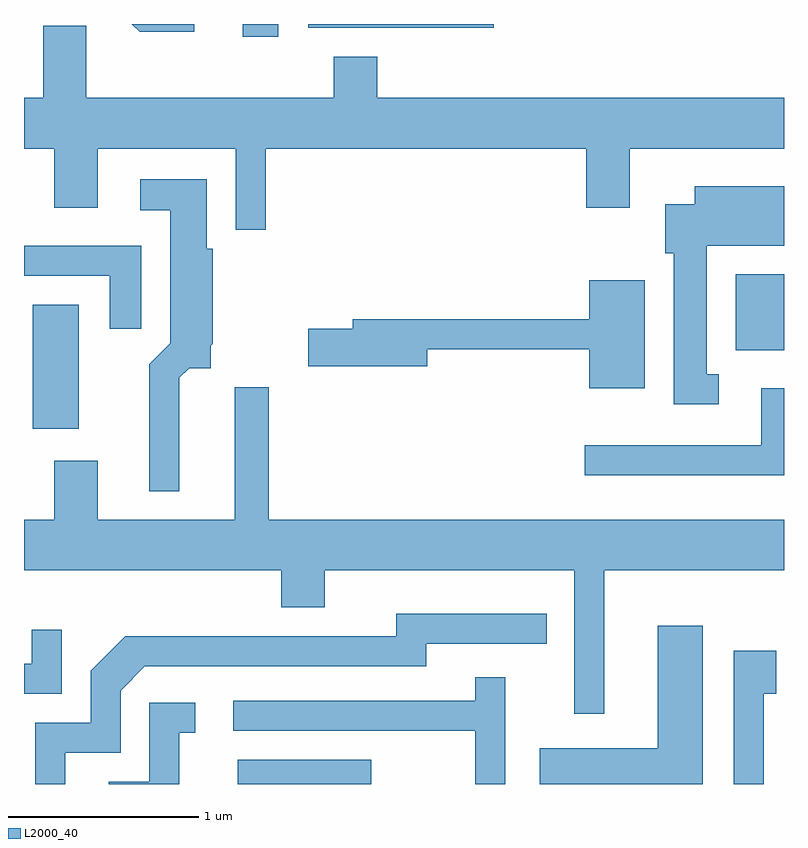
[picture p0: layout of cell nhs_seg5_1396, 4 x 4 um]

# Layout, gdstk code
import gdstk
lib = gdstk.Library(unit=1e-6, precision=1e-09)
def R(c, l, rs):  # rectangles x0, y0, x1, y1
    for r in rs: c.add(gdstk.rectangle(r[:2], r[2:], *l))
def P(c, l, *ps):  # polygons
    for p in ps: c.add(gdstk.Polygon(p, *l))
L2000_40 = (2000, 40)

nhs_seg5_1396 = lib.new_cell('nhs_seg5_1396')
R(nhs_seg5_1396, L2000_40, [(226.736,1500.072,227.438,1500.199), (225.656,1501.941,225.899,1502.594), (229.356,1502.356,229.611,1502.754), (226.761,1504.006,226.949,1504.072), (227.106,1504.051,228.084,1504.072)])
P(nhs_seg5_1396, L2000_40, [(226.508,1504.072),(226.178,1504.072),(226.219,1504.031),(226.508,1504.031)],
  [(226.884,1503.416),(228.571,1503.416),(228.571,1503.106),(228.799,1503.106),(228.799,1503.416),(229.611,1503.416),(229.611,1503.684),(227.469,1503.684),(227.469,1503.899),(227.241,1503.899),(227.241,1503.684),(225.939,1503.684),(225.939,1504.064),(225.711,1504.064),(225.711,1503.684),(225.611,1503.684),(225.611,1503.416),(225.771,1503.416),(225.771,1503.106),(225.999,1503.106),(225.999,1503.416),(226.726,1503.416),(226.726,1502.988),(226.884,1502.988)],
  [(226.429,1502.209),(226.482,1502.261),(226.594,1502.261),(226.594,1502.379),(226.604,1502.389),(226.604,1502.889),(226.574,1502.889),(226.574,1503.254),(226.223,1503.254),(226.223,1503.091),(226.381,1503.091),(226.381,1502.392),(226.271,1502.282),(226.271,1501.613),(226.429,1501.613)],
  [(229.268,1502.229),(229.204,1502.229),(229.204,1502.906),(229.611,1502.906),(229.611,1503.219),(229.141,1503.219),(229.141,1503.124),(228.986,1503.124),(228.986,1502.866),(229.031,1502.866),(229.031,1502.071),(229.268,1502.071)],
  [(226.229,1502.904),(225.611,1502.904),(225.611,1502.746),(226.061,1502.746),(226.061,1502.468),(226.229,1502.468)],
  [(228.879,1502.724),(228.586,1502.724),(228.586,1502.519),(227.341,1502.519),(227.341,1502.469),(227.106,1502.469),(227.106,1502.271),(227.734,1502.271),(227.734,1502.361),(228.586,1502.361),(228.586,1502.156),(228.879,1502.156)],
  [(228.664,1501.196),(229.611,1501.196),(229.611,1501.464),(226.899,1501.464),(226.899,1502.159),(226.721,1502.159),(226.721,1501.464),(225.999,1501.464),(225.999,1501.774),(225.771,1501.774),(225.771,1501.464),(225.611,1501.464),(225.611,1501.196),(226.966,1501.196),(226.966,1501.001),(227.194,1501.001),(227.194,1501.196),(228.506,1501.196),(228.506,1500.443),(228.664,1500.443)],
  [(229.611,1502.154),(229.491,1502.154),(229.491,1501.854),(228.563,1501.854),(228.563,1501.696),(229.611,1501.696)],
  [(225.829,1500.236),(226.119,1500.236),(226.119,1500.564),(226.247,1500.691),(227.729,1500.691),(227.729,1500.811),(228.363,1500.811),(228.363,1500.969),(227.571,1500.969),(227.571,1500.849),(226.144,1500.849),(225.961,1500.667),(225.961,1500.394),(225.671,1500.394),(225.671,1500.072),(225.829,1500.072)],
  [(229.184,1500.904),(228.946,1500.904),(228.946,1500.259),(228.326,1500.259),(228.326,1500.072),(229.184,1500.072)],
  [(225.809,1500.883),(225.651,1500.883),(225.651,1500.704),(225.611,1500.704),(225.611,1500.546),(225.809,1500.546)],
  [(229.504,1500.546),(229.569,1500.546),(229.569,1500.774),(229.346,1500.774),(229.346,1500.072),(229.504,1500.072)],
  [(228.144,1500.633),(227.986,1500.633),(227.986,1500.509),(226.713,1500.509),(226.713,1500.351),(227.986,1500.351),(227.986,1500.072),(228.144,1500.072)],
  [(226.429,1500.341),(226.513,1500.341),(226.513,1500.499),(226.271,1500.499),(226.271,1500.084),(226.056,1500.084),(226.056,1500.072),(226.429,1500.072)])

lib.write_gds('nhs_seg5_1396.gds')
